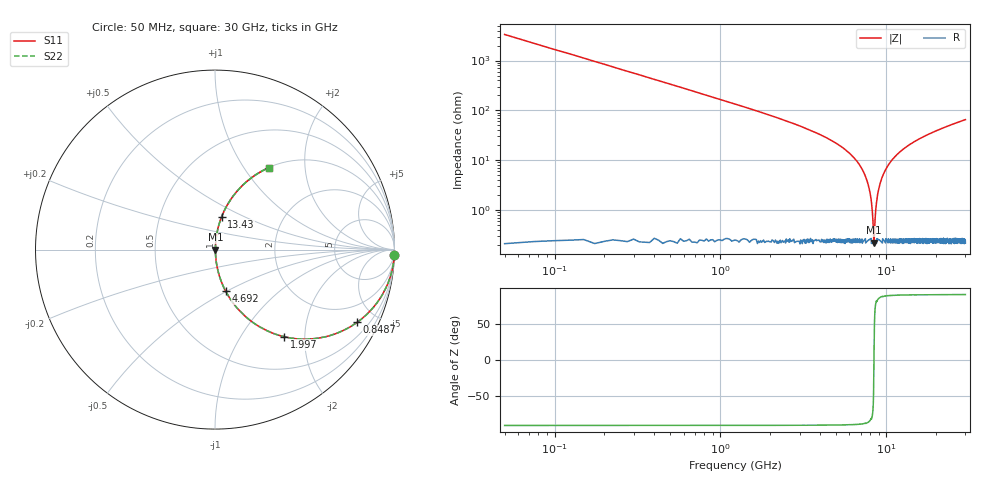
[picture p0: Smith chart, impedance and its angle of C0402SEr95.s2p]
!	AVX Thin Film Operation 	Date: April 2014
!	Description: Accu-P® Series, Thin Film  SMD RF Capacitor
!	Part Number: 04021JR95ZBSTR
# MHZ S MA R 50
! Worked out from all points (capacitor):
!   1201 points, 50 MHz to 30 GHz, reference 50 ohm
!   read as one part in series: C = 950 fF near 199.8 MHz
!   lowest |Z| = 221 mohm at 8.436 GHz (marker M1)
!   series resonance near 8.432 GHz, so ESL is about 370 pH
!   S11 on the Smith chart (normalised r, x): 50 MHz: -0, -67; 848.7 MHz: 1.00, -3.91; 1.997 GHz: 1.00, -1.58; 4.692 GHz: 1.00, -0.49; 13.43 GHz: 1.00, +0.38; 30 GHz: 1.00, +1.30
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50  1 -1.7  0.03 88.3  0.03 88.3  1 -1.7
374.458  0.976 -12.6  0.219 77.3  0.219 77.3  0.976 -12.6
848.667  0.89 -27.1  0.455 62.8  0.455 62.8  0.89 -27.1
1996.75  0.62 -51.5  0.783 38.3  0.783 38.3  0.62 -51.5
3144.833  0.416 -65.1  0.907 24.6  0.907 24.6  0.416 -65.1
4692.25  0.239 -75.6  0.969 13.8  0.969 13.8  0.239 -75.6
5041.667  0.208 -77.3  0.976 12.0  0.976 12.0  0.208 -77.3
6514.208  0.103 -82.8  0.992 5.9  0.992 5.9  0.103 -82.8
7462.625  0.049 -84.4  0.996 2.8  0.996 2.8  0.049 -84.4
7986.75  0.022 -82.4  0.997 1.2  0.997 1.2  0.022 -82.4
8161.458  0.013 -78.8  0.998 0.7  0.998 0.7  0.013 -78.8
8336.167  0.005135 -61.9  0.998 0.3  0.998 0.3  0.005135 -61.9
8436  0.002401 4.2  0.998 -0.0  0.998 -0.0  0.002401 4.2
8535.833  0.005401 63.4  0.998 -0.3  0.998 -0.3  0.005401 63.4
8760.458  0.015 80.1  0.997 -0.9  0.997 -0.9  0.015 80.1
8985.083  0.025 83.1  0.997 -1.4  0.997 -1.4  0.025 83.1
10058.29  0.07 84.0  0.995 -4.0  0.995 -4.0  0.07 84.0
13427.67  0.188 78.5  0.98 -10.8  0.98 -10.8  0.188 78.5
15025  0.235 75.8  0.97 -13.6  0.97 -13.6  0.235 75.8
20016.67  0.361 68.5  0.93 -21.2  0.93 -21.2  0.361 68.5
25033.29  0.463 62.2  0.884 -27.5  0.884 -27.5  0.463 62.2
30000  0.545 56.8  0.837 -33.0  0.837 -33.0  0.545 56.8
